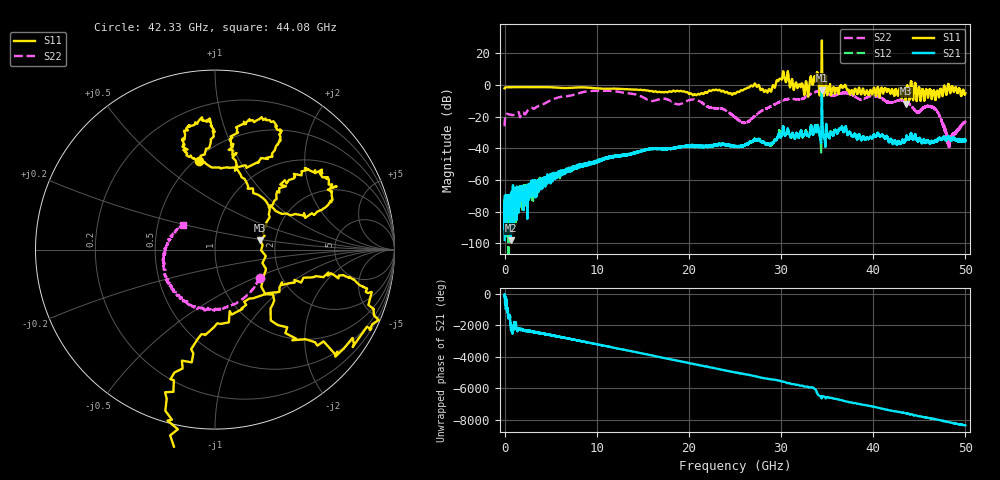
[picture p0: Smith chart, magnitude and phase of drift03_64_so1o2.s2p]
!Created with skrf (http://scikit-rf.org).
# Hz S RI R 50.0
!freq ReS11 ImS11 ReS21 ImS21 ReS12 ImS12 ReS22 ImS22
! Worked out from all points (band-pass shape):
!   10000 points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, 5.3 MHz to 50 GHz, reference 50 ohm
!   highest |S21| = -3.35 dB at 34.43 GHz (marker M1); lowest = -98.1 dB at 665.3 MHz (marker M2)
!   |S21| within 3 dB of the highest: 34.42731 GHz to 34.4349 GHz (7.591 MHz wide, 0.022 % of centre)
!   lowest |S11| = -11.8 dB at 43.51 GHz (marker M3), VSWR 1.69, Z = 82.9 + j9.36 ohm
!   |S11| at or under -10 dB: 43.48746 GHz to 43.5517 GHz (64.24 MHz wide, 0.148 % of centre); 44.70437 GHz to 44.70974 GHz (5.367 MHz wide, 0.012 % of centre)
!   |S22| runs from -39.4 to -3.6 dB; largest |S21 - S12| = 0.21
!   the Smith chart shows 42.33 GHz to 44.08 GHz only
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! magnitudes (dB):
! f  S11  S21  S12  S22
! 5.3 MHz  -2.1  -98.0  -69.5  -26.1
! 665.3 MHz  -1.4  -98.1  -75.0  -18.8
! 3.075 GHz  -1.4  -61.7  -64.1  -14.7
! 8.34 GHz  -1.5  -50.2  -50.9  -4.7
! 16.67 GHz  -4.4  -40.3  -40.2  -9.2
! 20.72 GHz  -6.2  -38.6  -38.4  -9.3
! 25.01 GHz  -5.5  -39.0  -39.1  -20.4
! 26.22 GHz  -2.2  -37.6  -37.6  -23.6
! 27.36 GHz  -1.1  -35.0  -34.8  -18.6
! 28.72 GHz  -2.5  -37.5  -37.6  -14.1
! 30.14 GHz  4.5  -29.4  -29.7  -9.9
! 32.74 GHz  2.0  -29.4  -29.2  -7.4
! 33.34 GHz  2.6  -27.6  -27.8  -5.2
! 33.82 GHz  4.0  -29.1  -29.5  -4.3
! 34.43 GHz  28.2  -3.4  -5.3  -3.9
! 36.48 GHz  -0.4  -28.0  -27.8  -5.3
! 41.67 GHz  -2.9  -35.4  -35.4  -11.0
! 43.51 GHz  -11.8  -34.4  -34.7  -10.3
! 44.78 GHz  -7.0  -35.1  -35.3  -17.2
! 46.68 GHz  -6.1  -35.7  -35.4  -15.1
! 48.22 GHz  -0.5  -33.0  -33.1  -36.4
! 50 GHz  -5.2  -35.4  -34.9  -23.4
